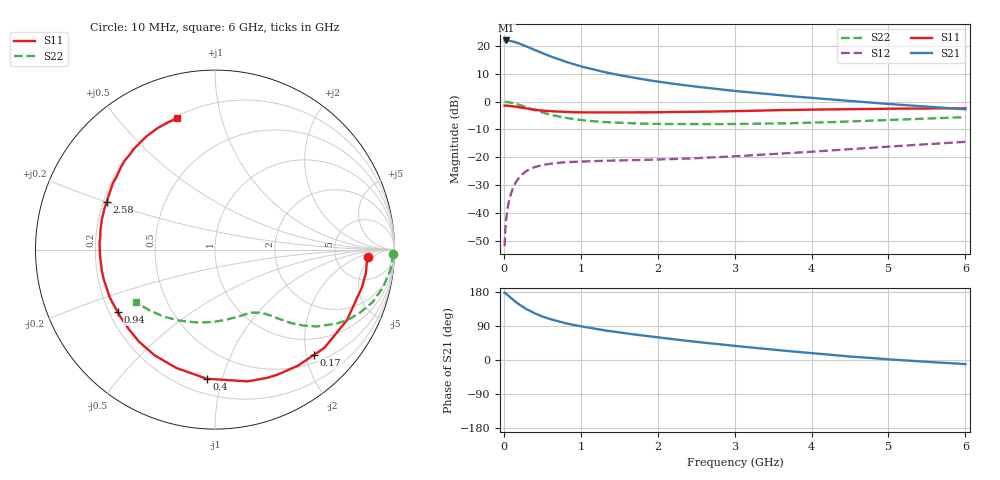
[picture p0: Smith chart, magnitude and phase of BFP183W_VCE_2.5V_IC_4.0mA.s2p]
! Infineon Technologies  Discrete & RF Semiconductors
! BFP183W
! VCE = 2.5 V,  IC =  4.0 mA
! Common Emitter S-Parameters:  Jan 2016
# GHz  S  MA  R  50
!  f  S11  S21  S12  S22
! GHz  MAG  ANG  MAG  ANG  MAG  ANG  MAG  ANG
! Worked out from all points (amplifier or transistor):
!   210 points, 10 MHz to 6 GHz, reference 50 ohm
!   highest |S21| = 22.1 dB at 30 MHz (marker M1)
!   |S21| within 3 dB of that: start of sweep to 365.3 MHz
!   unconditionally stable (mu >= 1): 1.898 GHz to 5.748 GHz
!   at 185 MHz: K = 0.13, MSG = 24.5 dB, |S12| = -27.9 dB
!   at 1.52 GHz: K = 0.84, MSG = 15.3 dB, |S12| = -21.2 dB
!   at 6 GHz: K = 0.97, MSG = 5.9 dB, |S12| = -14.5 dB
!   S11 on the Smith chart (normalised r, x): 10 MHz: 11, -4; 170 MHz: 0.65, -2.15; 400 MHz: 0.30, -0.89; 940 MHz: 0.23, -0.28; 2.58 GHz: 0.21, +0.20; 6 GHz: 0.21, +0.73
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0.01  0.8524 -2.9  12.63 177.5  0.0025 92.4  0.9941 -1.3
0.03  0.851 -8.9  12.68 174.8  0.0073 86.7  0.989 -3.9
0.1  0.8336 -28.2  12.29 162.5  0.0237 74.5  0.9597 -12.7
0.15  0.8191 -41.9  11.81 154.1  0.0345 68.2  0.9252 -18.5
0.17  0.8048 -46.8  11.54 151.1  0.0379 65.3  0.9068 -20.4
0.2  0.7949 -54.5  11.18 146.4  0.0431 61.9  0.8812 -23.5
0.26  0.7715 -67.8  10.37 138.7  0.052 55.5  0.827 -28.7
0.3  0.7563 -76.1  9.819 133.5  0.0572 51.8  0.7893 -31.6
0.4  0.7208 -93.7  8.581 123.3  0.0662 43.8  0.707 -37.3
0.5  0.6937 -108.0  7.497 114.8  0.0725 38.8  0.6398 -41.2
0.6  0.6786 -119.7  6.604 108.0  0.0762 34.5  0.5868 -44.1
0.8  0.6534 -137.5  5.26 97.2  0.0815 29.5  0.5135 -47.9
0.94  0.6443 -147.2  4.597 91.4  0.083 27.2  0.4801 -49.9
1.02  0.6429 -151.7  4.27 88.3  0.0838 26.3  0.4655 -51.0
1.2  0.6404 -161.1  3.694 81.8  0.0857 24.8  0.4416 -53.4
1.5  0.6408 -172.9  3.013 72.9  0.0874 24.4  0.4165 -57.4
2.02  0.6473 170.1  2.285 59.2  0.0912 26.2  0.398 -64.9
2.58  0.6601 156.2  1.813 46.2  0.0972 29.5  0.3941 -74.7
3.1  0.6803 145.1  1.518 35.4  0.1058 32.0  0.3971 -84.8
4.1  0.7228 127.5  1.143 16.4  0.1284 35.3  0.4222 -107.0
5.1  0.7494 114.5  0.89 0.5  0.1583 35.0  0.4741 -129.5
6  0.7616 106.2  0.731 -10.8  0.1893 32.6  0.528 -146.1
